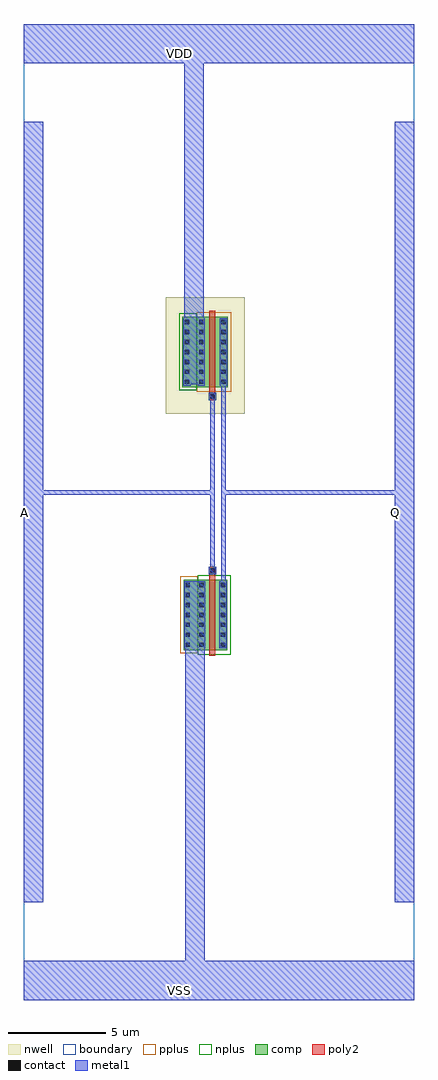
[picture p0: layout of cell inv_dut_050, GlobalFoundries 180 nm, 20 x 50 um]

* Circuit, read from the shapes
.subckt inv_dut_050 A Q VDD VSS
XM1 Q A VSS VSS nfet_03v3 w=3.6u l=0.3u
XM2 Q A VDD VDD pfet_03v3 w=3.6u l=0.3u
.ends

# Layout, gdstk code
from math import pi, radians
import gdstk
lib = gdstk.Library(unit=1e-6, precision=1e-09)
def R(c, l, rs):  # rectangles x0, y0, x1, y1
    for r in rs: c.add(gdstk.rectangle(r[:2], r[2:], *l))
def A(c, l, x, y, w, h, nx, ny, dx, dy):  # array of equal rectangles
    R(c, l, [(x+i*dx, y+j*dy, x+i*dx+w, y+j*dy+h) for i in range(nx) for j in range(ny)])
def P(c, l, *ps):  # polygons
    for p in ps: c.add(gdstk.Polygon(p, *l))
boundary = (0, 0)
nwell = (21, 0)
comp = (22, 0)
poly2 = (30, 0)
pplus = (31, 0)
nplus = (32, 0)
contact = (33, 0)
metal1 = (34, 0)

nfet = lib.new_cell('nfet')
R(nfet, comp, [(-0.42,0,1.81,3.6)])
P(nfet, poly2, [(0.19,-0.3),(0.19,3.9),(0.16,3.9),(0.16,4.26),(0.52,4.26),(0.52,3.9),(0.49,3.9),(0.49,-0.3)])
R(nfet, pplus, [(1.1,-0.17,1.98,3.77)])
R(nfet, nplus, [(-0.59,-0.24,1.1,3.84)])
A(nfet, contact, -0.32, 0.16, 0.22, 0.22, 1, 7, 0, 0.51)
A(nfet, contact, 0.78, 0.16, 0.22, 0.22, 1, 7, 0, 0.51)
A(nfet, contact, 1.49, 0.16, 0.22, 0.22, 1, 7, 0, 0.51)
R(nfet, contact, [(0.23,3.97,0.45,4.19)])
R(nfet, metal1, [(-0.4,0.08,-0.02,3.52), (0.7,0.08,1.08,3.52), (1.41,0.08,1.79,3.52), (0.15,3.89,0.53,4.27)])

pfet = lib.new_cell('pfet')
R(pfet, nwell, [(-1.32,-0.99,2.73,4.97)])
R(pfet, comp, [(-0.46,0,1.87,3.6)])
P(pfet, poly2, [(0.19,-0.3),(0.19,3.9),(0.15,3.9),(0.15,4.28),(0.53,4.28),(0.53,3.9),(0.49,3.9),(0.49,-0.3)])
R(pfet, pplus, [(-0.63,-0.24,1.14,3.84)])
R(pfet, nplus, [(1.14,-0.17,2.04,3.77)])
A(pfet, contact, -0.34, 0.16, 0.22, 0.22, 1, 7, 0, 0.51)
A(pfet, contact, 0.8, 0.16, 0.22, 0.22, 1, 7, 0, 0.51)
A(pfet, contact, 1.53, 0.16, 0.22, 0.22, 1, 7, 0, 0.51)
R(pfet, contact, [(0.23,3.98,0.45,4.2)])
R(pfet, metal1, [(-0.42,0.08,-0.04,3.52), (0.72,0.08,1.1,3.52), (1.45,0.08,1.83,3.52), (0.15,3.9,0.53,4.28)])

inv_dut_050 = lib.new_cell('inv_dut_050')
R(inv_dut_050, boundary, [(-10,-25,10,25)])
R(inv_dut_050, metal1, [(-10,-25,10,-23), (-10,-20,-9,20), (9,-20,10,20), (-10,23,10,25)])
inv_dut_050.add(gdstk.FlexPath([(-1.28,6.55),(-1.28,23.19)], 1, ends="flush", simple_path=True, layer=34, datatype=0))  # metal1
inv_dut_050.add(gdstk.FlexPath([(-1.24,-3.56),(-1.24,-23.21)], 1, ends="flush", simple_path=True, layer=34, datatype=0))  # metal1
inv_dut_050.add(gdstk.FlexPath([(-0.34,1),(-9.22,1),(-9.22,0.98),(-9.22,0.98)], 0.23, ends="extended", simple_path=True, layer=34, datatype=0))  # metal1
inv_dut_050.add(gdstk.FlexPath([(-0.34,6.02),(-0.34,-3.12)], 0.23, ends="flush", simple_path=True, layer=34, datatype=0))  # metal1
inv_dut_050.add(gdstk.FlexPath([(0.23,9.73),(0.23,-3.85)], 0.23, ends="extended", simple_path=True, layer=34, datatype=0))  # metal1
inv_dut_050.add(gdstk.FlexPath([(0.23,1),(9.21,1)], 0.23, ends="extended", simple_path=True, layer=34, datatype=0))  # metal1
inv_dut_050.add(gdstk.Reference(nfet, (0,-7.07), rotation=pi, x_reflection=True))
inv_dut_050.add(gdstk.Reference(pfet, (0,10), rotation=pi))
inv_dut_050.add(gdstk.Label('VDD', (-2,23.5), layer=34, texttype=10))
inv_dut_050.add(gdstk.Label('VSS', (-2,-24.5), layer=34, texttype=10))
inv_dut_050.add(gdstk.Label('A', (-9.97,0), layer=34, texttype=10))
inv_dut_050.add(gdstk.Label('Q', (9.03,0), layer=34, texttype=10))

lib.write_gds('inv_dut_050.gds')
